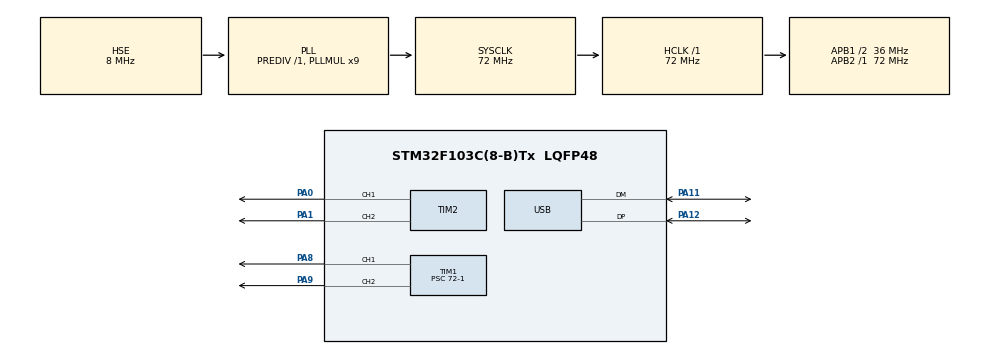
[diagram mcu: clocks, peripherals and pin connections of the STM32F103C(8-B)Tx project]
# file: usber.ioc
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Mcu.Family=STM32F1
Mcu.Name=STM32F103C(8-B)Tx
Mcu.Package=LQFP48
NVIC.PriorityGroup=NVIC_PRIORITYGROUP_4
NVIC.USB_LP_CAN1_RX0_IRQn=true\:0\:0\:false\:false\:true\:false\:true\:true
PA0-WKUP.Signal=S_TIM2_CH1_ETR
PA1.Signal=S_TIM2_CH2
PA11.Mode=Device
PA11.Signal=USB_DM
PA12.Mode=Device
PA12.Signal=USB_DP
PA13.Mode=Serial_Wire
PA13.Signal=SYS_JTMS-SWDIO
PA14.Mode=Serial_Wire
PA14.Signal=SYS_JTCK-SWCLK
PA8.Signal=S_TIM1_CH1
PA9.Signal=S_TIM1_CH2
PD0-OSC_IN.Mode=HSE-External-Oscillator
PD0-OSC_IN.Signal=RCC_OSC_IN
PD1-OSC_OUT.Mode=HSE-External-Oscillator
PD1-OSC_OUT.Signal=RCC_OSC_OUT
ProjectManager.HeapSize=0x200
ProjectManager.StackSize=0x400
ProjectManager.TargetToolchain=STM32CubeIDE
RCC.AHBFreq_Value=72000000
RCC.APB1CLKDivider=RCC_HCLK_DIV2
RCC.APB1Freq_Value=36000000
RCC.APB1TimFreq_Value=72000000
RCC.APB2Freq_Value=72000000
RCC.APB2TimFreq_Value=72000000
RCC.HCLKFreq_Value=72000000
RCC.PLLMUL=RCC_PLL_MUL9
RCC.SYSCLKFreq_VALUE=72000000
RCC.SYSCLKSource=RCC_SYSCLKSOURCE_PLLCLK
RCC.USBFreq_Value=48000000
RCC.USBPrescaler=RCC_USBCLKSOURCE_PLL_DIV1_5
SH.S_TIM1_CH1.0=TIM1_CH1,PWM Generation1 CH1
SH.S_TIM1_CH2.0=TIM1_CH2,PWM Generation2 CH2
SH.S_TIM2_CH1_ETR.0=TIM2_CH1,PWM Generation1 CH1
SH.S_TIM2_CH2.0=TIM2_CH2,PWM Generation2 CH2
TIM1.Channel-PWM\ Generation1\ CH1=TIM_CHANNEL_1
TIM1.Channel-PWM\ Generation2\ CH2=TIM_CHANNEL_2
TIM1.Period=20000-1
TIM1.Prescaler=72-1
TIM2.Channel-PWM\ Generation1\ CH1=TIM_CHANNEL_1
TIM2.Channel-PWM\ Generation2\ CH2=TIM_CHANNEL_2
USB_DEVICE.CLASS_NAME_FS=CDC
USB_DEVICE.VirtualMode=Cdc
USB_DEVICE.VirtualModeFS=Cdc_FS
VP_TIM1_VS_ClockSourceINT.Mode=Internal
VP_TIM2_VS_ClockSourceINT.Mode=Internal
VP_USB_DEVICE_VS_USB_DEVICE_CDC_FS.Mode=CDC_FS
board=custom

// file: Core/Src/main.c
/* USER CODE BEGIN Header */
/**
  ******************************************************************************
  * @file           : main.c
  * @brief          : Main program body
  ******************************************************************************
  * @attention
  *
  * Copyright (c) 2025 STMicroelectronics.
  * All rights reserved.
  *
  * This software is licensed under terms that can be found in the LICENSE file
  * in the root directory of this software component.
  * If no LICENSE file comes with this software, it is provided AS-IS.
  *
  ******************************************************************************
  */
/* USER CODE END Header */
#include "main.h"
#include "usb_device.h"
#include <stdbool.h>
#include "String.h"

TIM_HandleTypeDef htim1;
TIM_HandleTypeDef htim2;

void SystemClock_Config(void);
static void MX_GPIO_Init(void);
static void MX_TIM1_Init(void);
static void MX_TIM2_Init(void);
/* USER CODE BEGIN PFP */
void servo1(float angle);
void servo2(float angle);
typedef struct {

  /* Controller gains */
  float kp, ki, kd;

  /* Controller Variables */
  float prevError;
  float proportional, differential, integral;

  /* Sample time (in seconds) */
  float T;

} PIDController;
void PID_Init(PIDController *pid, float Kp, float Ki, float Kd, float dt);
float PID_signal(PIDController *pid, volatile float error);
/* USER CODE END PFP */

/* USER CODE BEGIN 0 */
//      --------------------------------------------------------------------------------------------------------------------------
//x,y coordinates
float target_x = 0;
float temp_target_x = 0;

float target_y = 0;
float temp_target_y = 0;

float current_x = 0;
float temp_current_x = 0;

float current_y = 0;
float temp_current_y = 0;

/*
 *float KP = 3;
float KI = 0.000;
float KD = 0.8*/
float KP = 0.000;
float KI = 0.000;
float KD = 0.000;
//--------------------------------------------------------------------------------------------------------
//communication:
char buffer[64];
volatile bool usb_data_ready = false;

//-------------------------------------------------------------------------------------------------------
//PID variables:

PIDController PID_servox, PID_servoy;
volatile float ux, uy;

#define SAMPLING_PERIOD (1.0f / 26.0f)    // frequency = (1/T)
volatile float error_x, error_y;
/* USER CODE END 0 */

int main(void)
{

  /* MCU Configuration--------------------------------------------------------*/

  /* Reset of all peripherals, Initializes the Flash interface and the Systick. */
  HAL_Init();

  /* Configure the system clock */
  SystemClock_Config();

  /* Initialize all configured peripherals */
  MX_GPIO_Init();
  MX_USB_DEVICE_Init();
  MX_TIM1_Init();
  MX_TIM2_Init();
  /* USER CODE BEGIN 2 */
  HAL_TIM_PWM_Start(&htim1,TIM_CHANNEL_1);
  HAL_TIM_PWM_Start(&htim1,TIM_CHANNEL_2);
  PID_Init(&PID_servox, KP, KI, KD, SAMPLING_PERIOD);
  PID_Init(&PID_servoy, KP, KI, KD,SAMPLING_PERIOD);

  int loop_timer = HAL_GetTick();

  /* USER CODE END 2 */

  /* Infinite loop */
  while (1)
  {

    /* USER CODE BEGIN 3 */
	  if(usb_data_ready){
		  // Receiving the data from the buffer:
		  if (sscanf(buffer, "%f,%f,%f,%f,%f,%f,%f" ,&target_x,&target_y,&current_x,&current_y,&KP,&KI,&KD) == 7){
			  error_x = (target_x - current_x)/100;
			  error_y = (target_y - current_y)/100;
			  //resetting the buffer:
			  int now = HAL_GetTick();
			  if ((now - loop_timer) >= (SAMPLING_PERIOD * 1000.0f)) {
				  //The motors have been inverted
					  uy = 102  + (PID_signal(&PID_servoy, error_y) * 57.2);
					  ux = 85 + (PID_signal(&PID_servox, error_x) * 57.2);
					  	 //servo2 became the x and servo1 became the y, as per now: 10/4/2025 due to the cahnges of the motor
					  servo1(uy);
					  servo2(ux);

				  loop_timer += (unsigned long)(SAMPLING_PERIOD * 1000.0f);
			  }
			  memset(buffer, 0, sizeof(buffer));

		  }
		  else{

		  }
	  }

  }
  /* USER CODE END 3 */
}

void SystemClock_Config(void)
{
  RCC_OscInitTypeDef RCC_OscInitStruct = {0};
  RCC_ClkInitTypeDef RCC_ClkInitStruct = {0};
  RCC_PeriphCLKInitTypeDef PeriphClkInit = {0};

  /** Initializes the RCC Oscillators according to the specified parameters
  * in the RCC_OscInitTypeDef structure.
  */
  RCC_OscInitStruct.OscillatorType = RCC_OSCILLATORTYPE_HSE;
  RCC_OscInitStruct.HSEState = RCC_HSE_ON;
  RCC_OscInitStruct.HSEPredivValue = RCC_HSE_PREDIV_DIV1;
  RCC_OscInitStruct.HSIState = RCC_HSI_ON;
  RCC_OscInitStruct.PLL.PLLState = RCC_PLL_ON;
  RCC_OscInitStruct.PLL.PLLSource = RCC_PLLSOURCE_HSE;
  RCC_OscInitStruct.PLL.PLLMUL = RCC_PLL_MUL9;
  if (HAL_RCC_OscConfig(&RCC_OscInitStruct) != HAL_OK)
  {
    Error_Handler();
  }

  /** Initializes the CPU, AHB and APB buses clocks
  */
  RCC_ClkInitStruct.ClockType = RCC_CLOCKTYPE_HCLK|RCC_CLOCKTYPE_SYSCLK
                              |RCC_CLOCKTYPE_PCLK1|RCC_CLOCKTYPE_PCLK2;
  RCC_ClkInitStruct.SYSCLKSource = RCC_SYSCLKSOURCE_PLLCLK;
  RCC_ClkInitStruct.AHBCLKDivider = RCC_SYSCLK_DIV1;
  RCC_ClkInitStruct.APB1CLKDivider = RCC_HCLK_DIV2;
  RCC_ClkInitStruct.APB2CLKDivider = RCC_HCLK_DIV1;

  if (HAL_RCC_ClockConfig(&RCC_ClkInitStruct, FLASH_LATENCY_2) != HAL_OK)
  {
    Error_Handler();
  }
  PeriphClkInit.PeriphClockSelection = RCC_PERIPHCLK_USB;
  PeriphClkInit.UsbClockSelection = RCC_USBCLKSOURCE_PLL_DIV1_5;
  if (HAL_RCCEx_PeriphCLKConfig(&PeriphClkInit) != HAL_OK)
  {
    Error_Handler();
  }
}

static void MX_TIM1_Init(void)
{

  TIM_ClockConfigTypeDef sClockSourceConfig = {0};
  TIM_MasterConfigTypeDef sMasterConfig = {0};
  TIM_OC_InitTypeDef sConfigOC = {0};
  TIM_BreakDeadTimeConfigTypeDef sBreakDeadTimeConfig = {0};

  htim1.Instance = TIM1;
  htim1.Init.Prescaler = 72-1;
  htim1.Init.CounterMode = TIM_COUNTERMODE_UP;
  htim1.Init.Period = 20000-1;
  htim1.Init.ClockDivision = TIM_CLOCKDIVISION_DIV1;
  htim1.Init.RepetitionCounter = 0;
  htim1.Init.AutoReloadPreload = TIM_AUTORELOAD_PRELOAD_DISABLE;
  if (HAL_TIM_Base_Init(&htim1) != HAL_OK)
  {
    Error_Handler();
  }
  sClockSourceConfig.ClockSource = TIM_CLOCKSOURCE_INTERNAL;
  if (HAL_TIM_ConfigClockSource(&htim1, &sClockSourceConfig) != HAL_OK)
  {
    Error_Handler();
  }
  if (HAL_TIM_PWM_Init(&htim1) != HAL_OK)
  {
    Error_Handler();
  }
  sMasterConfig.MasterOutputTrigger = TIM_TRGO_RESET;
  sMasterConfig.MasterSlaveMode = TIM_MASTERSLAVEMODE_DISABLE;
  if (HAL_TIMEx_MasterConfigSynchronization(&htim1, &sMasterConfig) != HAL_OK)
  {
    Error_Handler();
  }
  sConfigOC.OCMode = TIM_OCMODE_PWM1;
  sConfigOC.Pulse = 0;
  sConfigOC.OCPolarity = TIM_OCPOLARITY_HIGH;
  sConfigOC.OCNPolarity = TIM_OCNPOLARITY_HIGH;
  sConfigOC.OCFastMode = TIM_OCFAST_DISABLE;
  sConfigOC.OCIdleState = TIM_OCIDLESTATE_RESET;
  sConfigOC.OCNIdleState = TIM_OCNIDLESTATE_RESET;
  if (HAL_TIM_PWM_ConfigChannel(&htim1, &sConfigOC, TIM_CHANNEL_1) != HAL_OK)
  {
    Error_Handler();
  }
  if (HAL_TIM_PWM_ConfigChannel(&htim1, &sConfigOC, TIM_CHANNEL_2) != HAL_OK)
  {
    Error_Handler();
  }
  sBreakDeadTimeConfig.OffStateRunMode = TIM_OSSR_DISABLE;
  sBreakDeadTimeConfig.OffStateIDLEMode = TIM_OSSI_DISABLE;
  sBreakDeadTimeConfig.LockLevel = TIM_LOCKLEVEL_OFF;
  sBreakDeadTimeConfig.DeadTime = 0;
  sBreakDeadTimeConfig.BreakState = TIM_BREAK_DISABLE;
  sBreakDeadTimeConfig.BreakPolarity = TIM_BREAKPOLARITY_HIGH;
  sBreakDeadTimeConfig.AutomaticOutput = TIM_AUTOMATICOUTPUT_DISABLE;
  if (HAL_TIMEx_ConfigBreakDeadTime(&htim1, &sBreakDeadTimeConfig) != HAL_OK)
  {
    Error_Handler();
  }
  HAL_TIM_MspPostInit(&htim1);

}

static void MX_TIM2_Init(void)
{

  TIM_ClockConfigTypeDef sClockSourceConfig = {0};
  TIM_MasterConfigTypeDef sMasterConfig = {0};
  TIM_OC_InitTypeDef sConfigOC = {0};

  htim2.Instance = TIM2;
  htim2.Init.Prescaler = 0;
  htim2.Init.CounterMode = TIM_COUNTERMODE_UP;
  htim2.Init.Period = 65535;
  htim2.Init.ClockDivision = TIM_CLOCKDIVISION_DIV1;
  htim2.Init.AutoReloadPreload = TIM_AUTORELOAD_PRELOAD_DISABLE;
  if (HAL_TIM_Base_Init(&htim2) != HAL_OK)
  {
    Error_Handler();
  }
  sClockSourceConfig.ClockSource = TIM_CLOCKSOURCE_INTERNAL;
  if (HAL_TIM_ConfigClockSource(&htim2, &sClockSourceConfig) != HAL_OK)
  {
    Error_Handler();
  }
  if (HAL_TIM_PWM_Init(&htim2) != HAL_OK)
  {
    Error_Handler();
  }
  sMasterConfig.MasterOutputTrigger = TIM_TRGO_RESET;
  sMasterConfig.MasterSlaveMode = TIM_MASTERSLAVEMODE_DISABLE;
  if (HAL_TIMEx_MasterConfigSynchronization(&htim2, &sMasterConfig) != HAL_OK)
  {
    Error_Handler();
  }
  sConfigOC.OCMode = TIM_OCMODE_PWM1;
  sConfigOC.Pulse = 0;
  sConfigOC.OCPolarity = TIM_OCPOLARITY_HIGH;
  sConfigOC.OCFastMode = TIM_OCFAST_DISABLE;
  if (HAL_TIM_PWM_ConfigChannel(&htim2, &sConfigOC, TIM_CHANNEL_1) != HAL_OK)
  {
    Error_Handler();
  }
  if (HAL_TIM_PWM_ConfigChannel(&htim2, &sConfigOC, TIM_CHANNEL_2) != HAL_OK)
  {
    Error_Handler();
  }
  HAL_TIM_MspPostInit(&htim2);

}

static void MX_GPIO_Init(void)
{

  /* GPIO Ports Clock Enable */
  __HAL_RCC_GPIOD_CLK_ENABLE();
  __HAL_RCC_GPIOA_CLK_ENABLE();

}

/* USER CODE BEGIN 4 */
void servo1(float angle)
{
    if (angle < 0) angle = 0;
    if (angle > 180) angle = 180;

 int pwm = (11.00556*angle) + 486.83;
 __HAL_TIM_SET_COMPARE(&htim1, TIM_CHANNEL_1, pwm);  // 0°

}
void servo2(float angle)
{    if (angle < 0) angle = 0;
if (angle > 180) angle = 180;

int pwm = (11.00556*angle) + 486.83; //angle_PWM relation at counter period 20000
__HAL_TIM_SET_COMPARE(&htim1, TIM_CHANNEL_2, pwm);  // 0°
}
void PID_Init(PIDController *pid, float kp, float ki, float kd,float dt) {

  /* Set the Gains */
  pid->kp = kp;
  pid->ki = ki;
  pid->kd = kd;

  /* Set the Sampling Period */
  pid->T = dt;

  /* Clear controller variables */
  pid->prevError  = 0.0f;
}

float PID_signal(PIDController *pid, volatile float e){

    float Ts = pid->T, e_old=pid->prevError, control_signal;

    pid->proportional = (pid->kp)*e;

    pid->differential = (pid->kd) * (e - e_old)/Ts;

    pid->integral += (pid->ki) * ((e + e_old)/2.0f) * Ts;

    control_signal =  (pid->proportional + pid->differential + pid->integral);

    pid->prevError = e;

    return control_signal;
}

/* USER CODE END 4 */

void Error_Handler(void)
{
  __disable_irq();
  while (1)
  {
  }
}
